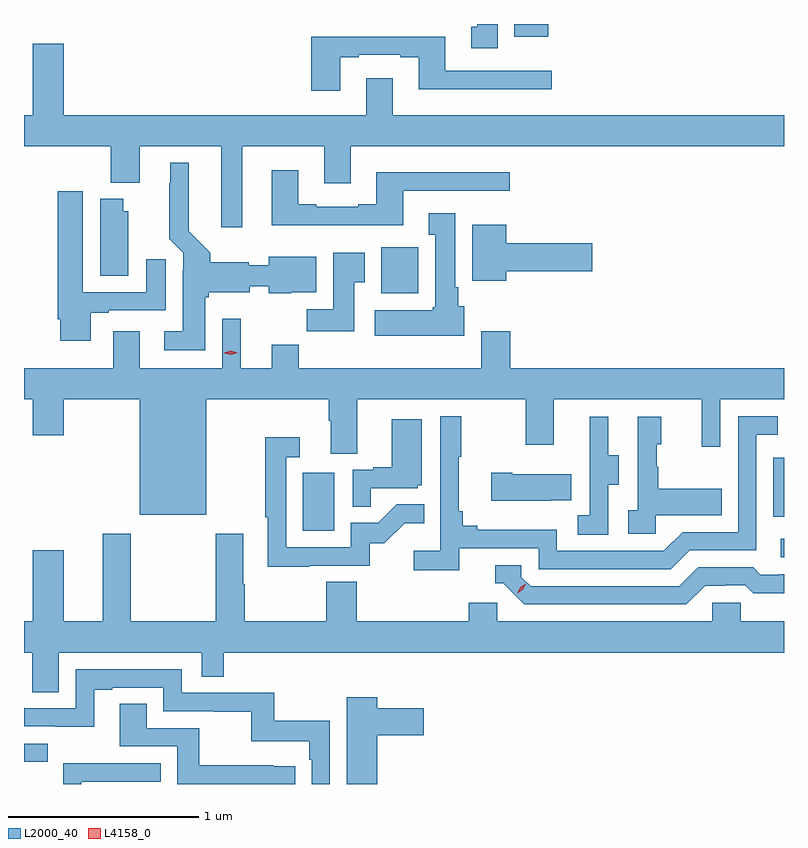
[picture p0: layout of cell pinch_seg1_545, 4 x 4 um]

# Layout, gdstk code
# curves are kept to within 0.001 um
import gdstk
lib = gdstk.Library(unit=1e-6, precision=1e-09)
def R(c, l, rs):  # rectangles x0, y0, x1, y1
    for r in rs: c.add(gdstk.rectangle(r[:2], r[2:], *l))
def P(c, l, *ps):  # polygons
    for p in ps: c.add(gdstk.Polygon(p, *l))
L2000_40 = (2000, 40)
L4158_0 = (4158, 0)

pinch_seg1_545 = lib.new_cell('pinch_seg1_545')
R(pinch_seg1_545, L2000_40, [(1076.05,527.18,1076.176,527.277), (1080.033,528.258,1080.05,528.354), (1077.518,528.396,1077.682,528.703), (1079.994,528.471,1080.05,528.78), (1077.929,529.646,1078.126,529.888), (1078.631,530.996,1078.81,531.064)])
P(pinch_seg1_545, L2000_40, [(1078.543,531.064),(1078.436,531.064),(1078.436,531.05),(1078.403,531.05),(1078.403,530.937),(1078.543,530.937)],
  [(1077.715,530.889),(1077.811,530.889),(1077.811,530.901),(1078.031,530.901),(1078.031,530.889),(1078.127,530.889),(1078.127,530.72),(1078.828,530.72),(1078.828,530.817),(1078.267,530.817),(1078.267,530.998),(1077.563,530.998),(1077.563,530.712),(1077.715,530.712)],
  [(1077.199,530.42),(1077.629,530.42),(1077.629,530.226),(1077.769,530.226),(1077.769,530.42),(1080.05,530.42),(1080.05,530.584),(1077.991,530.584),(1077.991,530.779),(1077.851,530.779),(1077.851,530.584),(1076.26,530.584),(1076.26,530.959),(1076.096,530.959),(1076.096,530.584),(1076.05,530.584),(1076.05,530.42),(1076.507,530.42),(1076.507,530.228),(1076.659,530.228),(1076.659,530.42),(1077.089,530.42),(1077.089,529.995),(1077.199,529.995)],
  [(1077.004,529.626),(1077.022,529.626),(1077.022,529.652),(1077.238,529.652),(1077.238,529.683),(1077.338,529.683),(1077.338,529.646),(1077.456,529.646),(1077.456,529.652),(1077.589,529.652),(1077.589,529.84),(1077.338,529.84),(1077.338,529.793),(1077.234,529.793),(1077.234,529.81),(1077.03,529.81),(1077.03,529.859),(1076.917,529.972),(1076.917,530.335),(1076.819,530.335),(1076.819,530.225),(1076.815,530.225),(1076.815,529.934),(1076.889,529.86),(1076.889,529.766),(1076.885,529.766),(1076.885,529.447),(1076.787,529.447),(1076.787,529.346),(1077.004,529.346)],
  [(1078.045,530.187),(1078.606,530.187),(1078.606,530.284),(1077.905,530.284),(1077.905,530.116),(1077.809,530.116),(1077.809,530.103),(1077.589,530.103),(1077.589,530.116),(1077.493,530.116),(1077.493,530.293),(1077.353,530.293),(1077.353,530.006),(1078.045,530.006)],
  [(1076.401,529.545),(1076.497,529.545),(1076.497,529.557),(1076.797,529.557),(1076.797,529.825),(1076.693,529.825),(1076.693,529.653),(1076.359,529.653),(1076.359,530.185),(1076.228,530.185),(1076.228,529.51),(1076.24,529.51),(1076.24,529.398),(1076.401,529.398)],
  [(1076.599,530.079),(1076.572,530.079),(1076.572,530.143),(1076.45,530.143),(1076.45,529.738),(1076.599,529.738)],
  [(1078.366,529.578),(1078.336,529.578),(1078.336,529.678),(1078.321,529.678),(1078.321,530.068),(1078.181,530.068),(1078.181,529.955),(1078.214,529.955),(1078.214,529.572),(1078.201,529.572),(1078.201,529.558),(1077.897,529.558),(1077.897,529.424),(1078.366,529.424)],
  [(1078.588,529.763),(1079.041,529.763),(1079.041,529.91),(1078.588,529.91),(1078.588,530.008),(1078.409,530.008),(1078.409,529.712),(1078.588,529.712)],
  [(1077.787,529.705),(1077.844,529.705),(1077.844,529.861),(1077.677,529.861),(1077.677,529.564),(1077.538,529.564),(1077.538,529.446),(1077.787,529.446)],
  [(1077.497,529.376),(1077.353,529.376),(1077.353,529.252),(1077.19,529.252),(1077.19,529.513),(1077.093,529.513),(1077.093,529.252),(1076.659,529.252),(1076.659,529.447),(1076.519,529.447),(1076.519,529.252),(1076.05,529.252),(1076.05,529.088),(1076.096,529.088),(1076.096,528.9),(1076.26,528.9),(1076.26,529.088),(1076.66,529.088),(1076.66,528.482),(1077.01,528.482),(1077.01,529.088),(1077.653,529.088),(1077.653,528.976),(1077.665,528.976),(1077.665,528.802),(1077.805,528.802),(1077.805,529.088),(1078.69,529.088),(1078.69,528.849),(1078.837,528.849),(1078.837,529.088),(1079.618,529.088),(1079.618,528.84),(1079.715,528.84),(1079.715,529.088),(1080.05,529.088),(1080.05,529.252),(1078.61,529.252),(1078.61,529.447),(1078.457,529.447),(1078.457,529.252),(1077.497,529.252)],
  [(1078.34,528.306),(1078.758,528.306),(1078.758,528.195),(1079.455,528.195),(1079.554,528.294),(1079.904,528.294),(1079.904,528.903),(1080.017,528.903),(1080.017,528.999),(1079.808,528.999),(1079.808,528.39),(1079.517,528.39),(1079.418,528.291),(1078.854,528.291),(1078.854,528.403),(1078.435,528.403),(1078.435,528.422),(1078.358,528.422),(1078.358,528.499),(1078.339,528.499),(1078.339,528.787),(1078.351,528.787),(1078.351,529),(1078.242,529),(1078.242,528.292),(1078.101,528.292),(1078.101,528.19),(1078.34,528.19)],
  [(1079.124,528.64),(1079.179,528.64),(1079.179,528.795),(1079.125,528.795),(1079.125,528.997),(1079.027,528.997),(1079.027,528.783),(1079.028,528.783),(1079.028,528.479),(1078.965,528.479),(1078.965,528.376),(1079.124,528.376)],
  [(1079.376,528.479),(1079.723,528.479),(1079.723,528.619),(1079.389,528.619),(1079.389,528.734),(1079.379,528.734),(1079.379,528.852),(1079.404,528.852),(1079.404,528.997),(1079.28,528.997),(1079.28,528.506),(1079.229,528.506),(1079.229,528.381),(1079.376,528.381)],
  [(1077.875,528.621),(1078.122,528.621),(1078.122,528.636),(1078.144,528.636),(1078.144,528.985),(1077.986,528.985),(1077.986,528.73),(1077.887,528.73),(1077.887,528.717),(1077.78,528.717),(1077.78,528.523),(1077.875,528.523)],
  [(1077.551,528.213),(1077.87,528.213),(1077.87,528.33),(1077.946,528.33),(1078.053,528.437),(1078.157,528.437),(1078.157,528.536),(1078.013,528.536),(1077.915,528.438),(1077.771,528.438),(1077.771,528.309),(1077.429,528.309),(1077.429,528.783),(1077.502,528.783),(1077.502,528.889),(1077.321,528.889),(1077.321,528.469),(1077.333,528.469),(1077.333,528.208),(1077.551,528.208)],
  [(1078.823,528.557),(1078.931,528.557),(1078.931,528.694),(1078.621,528.694),(1078.621,528.702),(1078.509,528.702),(1078.509,528.554),(1078.823,528.554)],
  [(1076.985,527.629),(1077.101,527.629),(1077.101,527.756),(1080.05,527.756),(1080.05,527.92),(1079.823,527.92),(1079.823,528.018),(1079.673,528.018),(1079.673,527.92),(1078.542,527.92),(1078.542,528.018),(1078.391,528.018),(1078.391,527.92),(1077.8,527.92),(1077.8,528.128),(1077.64,528.128),(1077.64,527.92),(1077.213,527.92),(1077.213,528.116),(1077.205,528.116),(1077.205,528.382),(1077.058,528.382),(1077.058,527.92),(1076.613,527.92),(1076.613,528.382),(1076.465,528.382),(1076.465,527.92),(1076.26,527.92),(1076.26,528.295),(1076.096,528.295),(1076.096,527.92),(1076.05,527.92),(1076.05,527.756),(1076.094,527.756),(1076.094,527.548),(1076.233,527.548),(1076.233,527.756),(1076.985,527.756)],
  [(1079.635,528.108),(1079.742,528.108),(1079.742,528.111),(1079.845,528.111),(1079.887,528.069),(1080.05,528.069),(1080.05,528.168),(1080.025,528.168),(1080.025,528.165),(1079.926,528.165),(1079.887,528.204),(1079.598,528.204),(1079.499,528.105),(1078.716,528.105),(1078.668,528.153),(1078.668,528.216),(1078.529,528.216),(1078.529,528.12),(1078.572,528.12),(1078.683,528.009),(1079.536,528.009)],
  [(1077.66,527.398),(1077.367,527.398),(1077.367,527.544),(1076.88,527.544),(1076.88,527.667),(1076.322,527.667),(1076.322,527.463),(1076.052,527.463),(1076.05,527.465),(1076.05,527.367),(1076.419,527.366),(1076.419,527.559),(1076.515,527.559),(1076.515,527.571),(1076.784,527.571),(1076.784,527.448),(1077.049,527.448),(1077.049,527.443),(1077.246,527.443),(1077.246,527.288),(1077.551,527.288),(1077.551,527.192),(1077.564,527.192),(1077.564,527.064),(1077.66,527.064)],
  [(1077.91,527.321),(1078.153,527.321),(1078.153,527.463),(1077.91,527.463),(1077.91,527.521),(1077.749,527.521),(1077.749,527.064),(1077.91,527.064)],
  [(1077.478,527.157),(1077.365,527.157),(1077.365,527.162),(1076.972,527.162),(1076.972,527.358),(1076.695,527.358),(1076.695,527.486),(1076.555,527.486),(1076.555,527.262),(1076.856,527.262),(1076.856,527.064),(1077.478,527.064)],
  [(1076.352,527.076),(1076.771,527.076),(1076.771,527.172),(1076.256,527.172),(1076.256,527.064),(1076.352,527.064)])
P(pinch_seg1_545, L4158_0, [(1077.14,529.323),(1077.104,529.332),(1077.104,529.333),(1077.104,529.333),(1077.139,529.343),(1077.175,529.334),(1077.175,529.334),(1077.175,529.333)],
  [(1078.645,528.067),(1078.645,528.067),(1078.661,528.1),(1078.692,528.119),(1078.692,528.119),(1078.692,528.118),(1078.676,528.086),(1078.645,528.067)])

lib.write_gds('pinch_seg1_545.gds')
